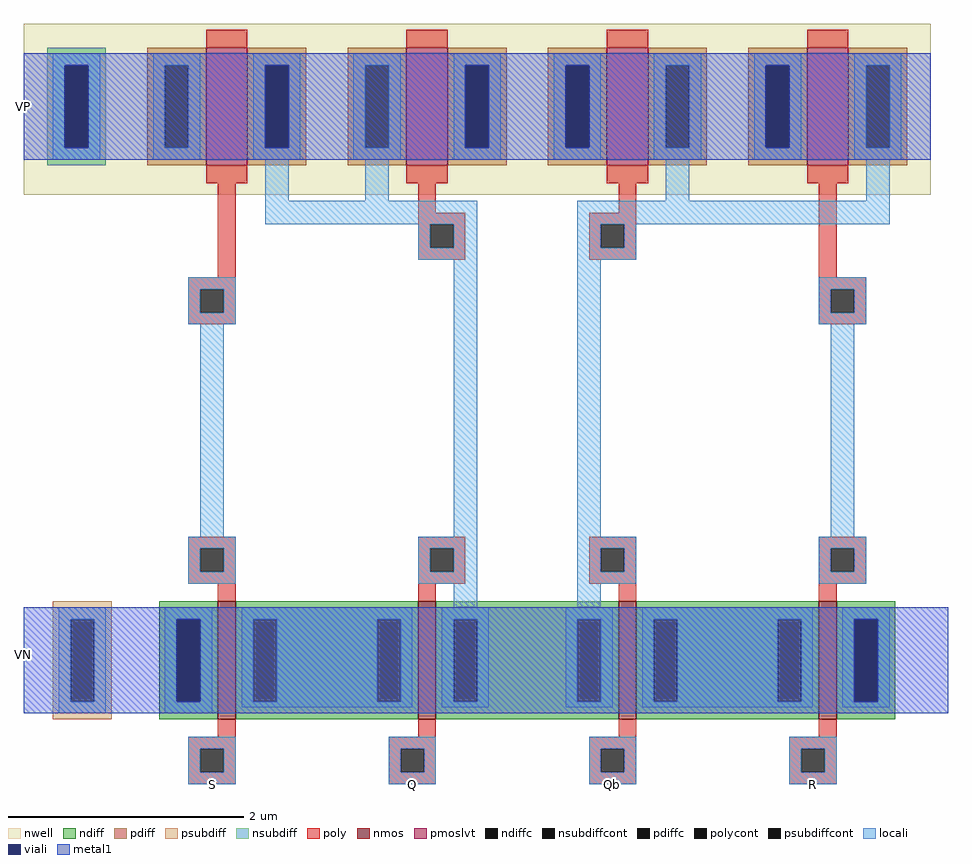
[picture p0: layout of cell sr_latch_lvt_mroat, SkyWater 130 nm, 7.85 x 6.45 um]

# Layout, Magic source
magic
tech sky130A
<< nwell >>
rect -280 95 490 240
<< nmos >>
rect -115 -350 -100 -250
rect 55 -350 70 -250
rect 225 -350 240 -250
rect 395 -350 410 -250
<< pmoslvt >>
rect -125 120 -90 220
rect 45 120 80 220
rect 215 120 250 220
rect 385 120 420 220
<< ndiff >>
rect -165 -265 -115 -250
rect -165 -335 -150 -265
rect -130 -335 -115 -265
rect -165 -350 -115 -335
rect -100 -265 55 -250
rect -100 -335 -85 -265
rect -65 -335 20 -265
rect 40 -335 55 -265
rect -100 -350 55 -335
rect 70 -265 225 -250
rect 70 -335 85 -265
rect 105 -335 190 -265
rect 210 -335 225 -265
rect 70 -350 225 -335
rect 240 -265 395 -250
rect 240 -335 255 -265
rect 275 -335 360 -265
rect 380 -335 395 -265
rect 240 -350 395 -335
rect 410 -265 460 -250
rect 410 -335 425 -265
rect 445 -335 460 -265
rect 410 -350 460 -335
<< pdiff >>
rect -175 205 -125 220
rect -175 135 -160 205
rect -140 135 -125 205
rect -175 120 -125 135
rect -90 205 -40 220
rect -90 135 -75 205
rect -55 135 -40 205
rect -90 120 -40 135
rect -5 205 45 220
rect -5 135 10 205
rect 30 135 45 205
rect -5 120 45 135
rect 80 205 130 220
rect 80 135 95 205
rect 115 135 130 205
rect 80 120 130 135
rect 165 205 215 220
rect 165 135 180 205
rect 200 135 215 205
rect 165 120 215 135
rect 250 205 300 220
rect 250 135 265 205
rect 285 135 300 205
rect 250 120 300 135
rect 335 205 385 220
rect 335 135 350 205
rect 370 135 385 205
rect 335 120 385 135
rect 420 205 470 220
rect 420 135 435 205
rect 455 135 470 205
rect 420 120 470 135
<< ndiffc >>
rect -150 -335 -130 -265
rect -85 -335 -65 -265
rect 20 -335 40 -265
rect 85 -335 105 -265
rect 190 -335 210 -265
rect 255 -335 275 -265
rect 360 -335 380 -265
rect 425 -335 445 -265
<< pdiffc >>
rect -160 135 -140 205
rect -75 135 -55 205
rect 10 135 30 205
rect 95 135 115 205
rect 180 135 200 205
rect 265 135 285 205
rect 350 135 370 205
rect 435 135 455 205
<< psubdiff >>
rect -255 -265 -205 -250
rect -255 -335 -240 -265
rect -220 -335 -205 -265
rect -255 -350 -205 -335
<< nsubdiff >>
rect -260 205 -210 220
rect -260 135 -245 205
rect -225 135 -210 205
rect -260 120 -210 135
<< psubdiffcont >>
rect -240 -335 -220 -265
<< nsubdiffcont >>
rect -245 135 -225 205
<< poly >>
rect -125 220 -90 235
rect 45 220 80 235
rect 215 220 250 235
rect 385 220 420 235
rect -125 105 -90 120
rect 45 105 80 120
rect 215 105 250 120
rect 385 105 420 120
rect -115 25 -100 105
rect 55 80 70 105
rect 225 80 240 105
rect 55 70 95 80
rect 55 50 65 70
rect 85 50 95 70
rect 55 40 95 50
rect 200 70 240 80
rect 200 50 210 70
rect 230 50 240 70
rect 200 40 240 50
rect -140 15 -100 25
rect -140 -5 -130 15
rect -110 -5 -100 15
rect -140 -15 -100 -5
rect 395 25 410 105
rect 395 15 435 25
rect 395 -5 405 15
rect 425 -5 435 15
rect 395 -15 435 -5
rect -140 -205 -100 -195
rect -140 -225 -130 -205
rect -110 -225 -100 -205
rect -140 -235 -100 -225
rect -115 -250 -100 -235
rect 55 -205 95 -195
rect 55 -225 65 -205
rect 85 -225 95 -205
rect 55 -235 95 -225
rect 200 -205 240 -195
rect 200 -225 210 -205
rect 230 -225 240 -205
rect 200 -235 240 -225
rect 55 -250 70 -235
rect 225 -250 240 -235
rect 395 -205 435 -195
rect 395 -225 405 -205
rect 425 -225 435 -205
rect 395 -235 435 -225
rect 395 -250 410 -235
rect -115 -365 -100 -350
rect 55 -365 70 -350
rect 225 -365 240 -350
rect 395 -365 410 -350
rect -140 -375 -100 -365
rect -140 -395 -130 -375
rect -110 -395 -100 -375
rect -140 -405 -100 -395
rect 30 -375 70 -365
rect 30 -395 40 -375
rect 60 -395 70 -375
rect 30 -405 70 -395
rect 200 -375 240 -365
rect 200 -395 210 -375
rect 230 -395 240 -375
rect 200 -405 240 -395
rect 370 -375 410 -365
rect 370 -395 380 -375
rect 400 -395 410 -375
rect 370 -405 410 -395
<< polycont >>
rect 65 50 85 70
rect 210 50 230 70
rect -130 -5 -110 15
rect 405 -5 425 15
rect -130 -225 -110 -205
rect 65 -225 85 -205
rect 210 -225 230 -205
rect 405 -225 425 -205
rect -130 -395 -110 -375
rect 40 -395 60 -375
rect 210 -395 230 -375
rect 380 -395 400 -375
<< locali >>
rect -255 205 -215 215
rect -255 135 -245 205
rect -225 135 -215 205
rect -255 125 -215 135
rect -170 205 -130 215
rect -170 135 -160 205
rect -140 135 -130 205
rect -170 125 -130 135
rect -85 205 -45 215
rect -85 135 -75 205
rect -55 135 -45 205
rect -85 125 -45 135
rect 0 205 40 215
rect 0 135 10 205
rect 30 135 40 205
rect 0 125 40 135
rect 85 205 125 215
rect 85 135 95 205
rect 115 135 125 205
rect 85 125 125 135
rect 170 205 210 215
rect 170 135 180 205
rect 200 135 210 205
rect 170 125 210 135
rect 255 205 295 215
rect 255 135 265 205
rect 285 135 295 205
rect 255 125 295 135
rect 340 205 380 215
rect 340 135 350 205
rect 370 135 380 205
rect 340 125 380 135
rect 425 205 465 215
rect 425 135 435 205
rect 455 135 465 205
rect 425 125 465 135
rect -75 90 -55 125
rect 10 90 30 125
rect 265 90 285 125
rect 435 90 455 125
rect -75 70 105 90
rect 55 50 65 70
rect 85 50 105 70
rect 55 40 105 50
rect -140 15 -100 25
rect -140 -5 -130 15
rect -110 -5 -100 15
rect -140 -15 -100 -5
rect -130 -195 -110 -15
rect 85 -195 105 40
rect -140 -205 -100 -195
rect -140 -225 -130 -205
rect -110 -225 -100 -205
rect -140 -235 -100 -225
rect 55 -205 105 -195
rect 55 -225 65 -205
rect 85 -225 105 -205
rect 55 -235 105 -225
rect 85 -255 105 -235
rect 190 70 455 90
rect 190 50 210 70
rect 230 50 240 70
rect 190 40 240 50
rect 190 -195 210 40
rect 395 15 435 25
rect 395 -5 405 15
rect 425 -5 435 15
rect 395 -15 435 -5
rect 405 -195 425 -15
rect 190 -205 240 -195
rect 190 -225 210 -205
rect 230 -225 240 -205
rect 190 -235 240 -225
rect 395 -205 435 -195
rect 395 -225 405 -205
rect 425 -225 435 -205
rect 395 -235 435 -225
rect 190 -255 210 -235
rect -250 -265 -210 -255
rect -250 -335 -240 -265
rect -220 -335 -210 -265
rect -250 -345 -210 -335
rect -160 -265 -120 -255
rect -160 -335 -150 -265
rect -130 -335 -120 -265
rect -160 -345 -120 -335
rect -95 -265 50 -255
rect -95 -335 -85 -265
rect -65 -335 20 -265
rect 40 -335 50 -265
rect -95 -340 50 -335
rect 75 -265 115 -255
rect 75 -335 85 -265
rect 105 -335 115 -265
rect 75 -340 115 -335
rect 180 -265 220 -255
rect 180 -335 190 -265
rect 210 -335 220 -265
rect 180 -340 220 -335
rect 245 -265 390 -255
rect 245 -335 255 -265
rect 275 -335 360 -265
rect 380 -335 390 -265
rect 245 -340 390 -335
rect 415 -265 455 -255
rect 415 -335 425 -265
rect 445 -335 455 -265
rect 415 -340 455 -335
rect -140 -375 -100 -365
rect -140 -395 -130 -375
rect -110 -395 -100 -375
rect -140 -405 -100 -395
rect 30 -375 70 -365
rect 30 -395 40 -375
rect 60 -395 70 -375
rect 30 -405 70 -395
rect 200 -375 240 -365
rect 200 -395 210 -375
rect 230 -395 240 -375
rect 200 -405 240 -395
rect 370 -375 410 -365
rect 370 -395 380 -375
rect 400 -395 410 -375
rect 370 -405 410 -395
<< viali >>
rect -245 135 -225 205
rect -75 135 -55 205
rect 95 135 115 205
rect 180 135 200 205
rect 350 135 370 205
rect -150 -335 -130 -265
rect 425 -335 445 -265
<< metal1 >>
rect -280 205 490 215
rect -280 135 -245 205
rect -225 135 -75 205
rect -55 135 95 205
rect 115 135 180 205
rect 200 135 350 205
rect 370 135 490 205
rect -280 125 490 135
rect -280 -265 505 -255
rect -280 -335 -150 -265
rect -130 -335 425 -265
rect 445 -335 505 -265
rect -280 -345 505 -335
<< labels >>
rlabel metal1 -280 170 -280 170 7 VP
port 1 w
rlabel metal1 -280 -295 -280 -295 7 VN
port 2 w
rlabel locali -120 -405 -120 -405 5 S
port 3 s
rlabel locali 50 -405 50 -405 5 Q
port 5 s
rlabel locali 220 -405 220 -405 5 Qb
port 6 s
rlabel locali 390 -405 390 -405 5 R
port 4 s
<< end >>
